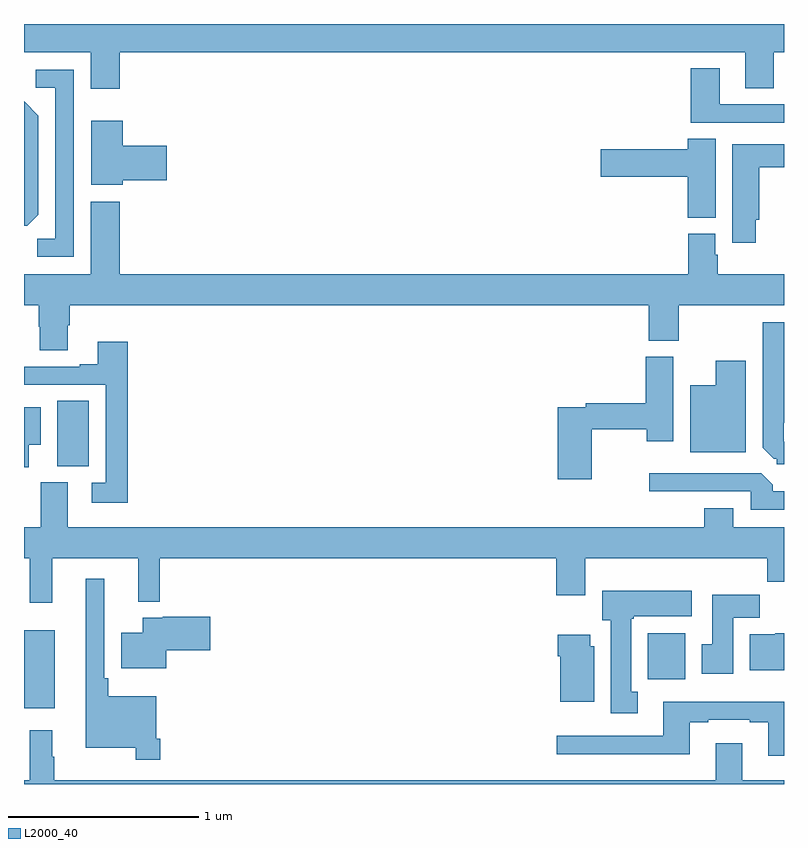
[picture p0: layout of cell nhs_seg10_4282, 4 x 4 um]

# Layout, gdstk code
import gdstk
lib = gdstk.Library(unit=1e-6, precision=1e-09)
def R(c, l, rs):  # rectangles x0, y0, x1, y1
    for r in rs: c.add(gdstk.rectangle(r[:2], r[2:], *l))
def P(c, l, *ps):  # polygons
    for p in ps: c.add(gdstk.Polygon(p, *l))
L2000_40 = (2000, 40)

nhs_seg10_4282 = lib.new_cell('nhs_seg10_4282')
R(nhs_seg10_4282, L2000_40, [(351,1260.899,351.163,1261.309), (354.284,1261.052,354.481,1261.294), (351.176,1262.173,351.34,1262.516)])
P(nhs_seg10_4282, L2000_40, [(351.503,1264.352),(354.797,1264.352),(354.797,1264.162),(354.945,1264.162),(354.945,1264.352),(355,1264.352),(355,1264.5),(351,1264.5),(351,1264.352),(351.35,1264.352),(351.35,1264.158),(351.503,1264.158)],
  [(355,1264.077),(354.661,1264.077),(354.661,1264.267),(354.509,1264.267),(354.509,1263.981),(355,1263.981)],
  [(351.261,1264.26),(351.063,1264.26),(351.063,1264.164),(351.165,1264.164),(351.165,1263.371),(351.07,1263.371),(351.07,1263.276),(351.261,1263.276)],
  [(351.075,1263.496),(351.075,1264.018),(351,1264.093),(351,1263.437),(351.016,1263.437)],
  [(351.52,1263.677),(351.751,1263.677),(351.751,1263.86),(351.52,1263.86),(351.52,1263.991),(351.353,1263.991),(351.353,1263.653),(351.52,1263.653)],
  [(354.64,1263.896),(354.494,1263.896),(354.494,1263.842),(354.036,1263.842),(354.036,1263.695),(354.494,1263.695),(354.494,1263.481),(354.64,1263.481)],
  [(354.85,1263.471),(354.871,1263.471),(354.871,1263.746),(355,1263.746),(355,1263.868),(354.728,1263.868),(354.728,1263.348),(354.85,1263.348)],
  [(351.229,1262.914),(351.242,1262.914),(351.242,1263.02),(354.287,1263.02),(354.287,1262.833),(354.447,1262.833),(354.447,1263.02),(355,1263.02),(355,1263.184),(354.65,1263.184),(354.65,1263.285),(354.637,1263.285),(354.637,1263.396),(354.497,1263.396),(354.497,1263.184),(351.503,1263.184),(351.503,1263.565),(351.35,1263.565),(351.35,1263.184),(351,1263.184),(351,1263.02),(351.077,1263.02),(351.077,1262.907),(351.082,1262.907),(351.082,1262.782),(351.229,1262.782)],
  [(355,1262.301),(354.999,1262.301),(354.999,1262.401),(355,1262.401),(355,1262.929),(354.887,1262.929),(354.887,1262.271),(354.947,1262.211),(354.963,1262.211),(354.963,1262.184),(355,1262.184)],
  [(351.545,1262.827),(351.389,1262.827),(351.389,1262.71),(351.293,1262.71),(351.293,1262.697),(351,1262.697),(351,1262.601),(351.429,1262.601),(351.429,1262.085),(351.357,1262.085),(351.357,1261.98),(351.545,1261.98)],
  [(353.988,1262.368),(354.277,1262.368),(354.277,1262.304),(354.418,1262.304),(354.418,1262.748),(354.272,1262.748),(354.272,1262.504),(353.956,1262.504),(353.956,1262.484),(353.81,1262.484),(353.81,1262.103),(353.988,1262.103)],
  [(354.799,1262.728),(354.641,1262.728),(354.641,1262.599),(354.506,1262.599),(354.506,1262.246),(354.799,1262.246)],
  [(351.025,1262.285),(351.088,1262.285),(351.088,1262.482),(351,1262.482),(351,1262.166),(351.025,1262.166)],
  [(355,1262.04),(354.941,1262.04),(354.941,1262.074),(354.879,1262.136),(354.291,1262.136),(354.291,1262.04),(354.825,1262.04),(354.825,1261.944),(355,1261.944)],
  [(351.149,1261.688),(351.602,1261.688),(351.602,1261.46),(351.715,1261.46),(351.715,1261.688),(353.801,1261.688),(353.801,1261.494),(353.953,1261.494),(353.953,1261.688),(354.913,1261.688),(354.913,1261.564),(355,1261.564),(355,1261.852),(354.733,1261.852),(354.733,1261.951),(354.581,1261.951),(354.581,1261.852),(351.229,1261.852),(351.229,1262.088),(351.089,1262.088),(351.089,1261.852),(351,1261.852),(351,1261.688),(351.031,1261.688),(351.031,1261.455),(351.149,1261.455)],
  [(351.716,1260.739),(351.696,1260.739),(351.696,1260.961),(351.443,1260.961),(351.443,1261.057),(351.423,1261.057),(351.423,1261.579),(351.326,1261.579),(351.326,1260.692),(351.588,1260.692),(351.588,1260.627),(351.716,1260.627)],
  [(354.229,1260.986),(354.196,1260.986),(354.196,1261.369),(354.21,1261.369),(354.21,1261.382),(354.514,1261.382),(354.514,1261.516),(354.044,1261.516),(354.044,1261.362),(354.089,1261.362),(354.089,1260.873),(354.229,1260.873)],
  [(354.733,1261.376),(354.872,1261.376),(354.872,1261.495),(354.623,1261.495),(354.623,1261.236),(354.566,1261.236),(354.566,1261.08),(354.733,1261.08)],
  [(351.748,1261.205),(351.979,1261.205),(351.979,1261.38),(351.73,1261.38),(351.73,1261.375),(351.626,1261.375),(351.626,1261.297),(351.512,1261.297),(351.512,1261.109),(351.748,1261.109)],
  [(355,1261.294),(354.954,1261.294),(354.954,1261.288),(354.821,1261.288),(354.821,1261.1),(355,1261.1)],
  [(354.001,1261.224),(353.98,1261.224),(353.98,1261.285),(353.81,1261.285),(353.81,1261.172),(353.822,1261.172),(353.822,1260.932),(354.001,1260.932)],
  [(355,1260.934),(354.365,1260.934),(354.365,1260.753),(353.805,1260.753),(353.805,1260.656),(354.505,1260.656),(354.505,1260.825),(354.601,1260.825),(354.601,1260.837),(354.821,1260.837),(354.821,1260.825),(354.917,1260.825),(354.917,1260.648),(355,1260.648)],
  [(355,1260.52),(354.781,1260.52),(354.781,1260.715),(354.641,1260.715),(354.641,1260.52),(351.16,1260.52),(351.16,1260.644),(351.148,1260.644),(351.148,1260.784),(351.031,1260.784),(351.031,1260.52),(351,1260.52),(351,1260.5),(355,1260.5)])

lib.write_gds('nhs_seg10_4282.gds')
